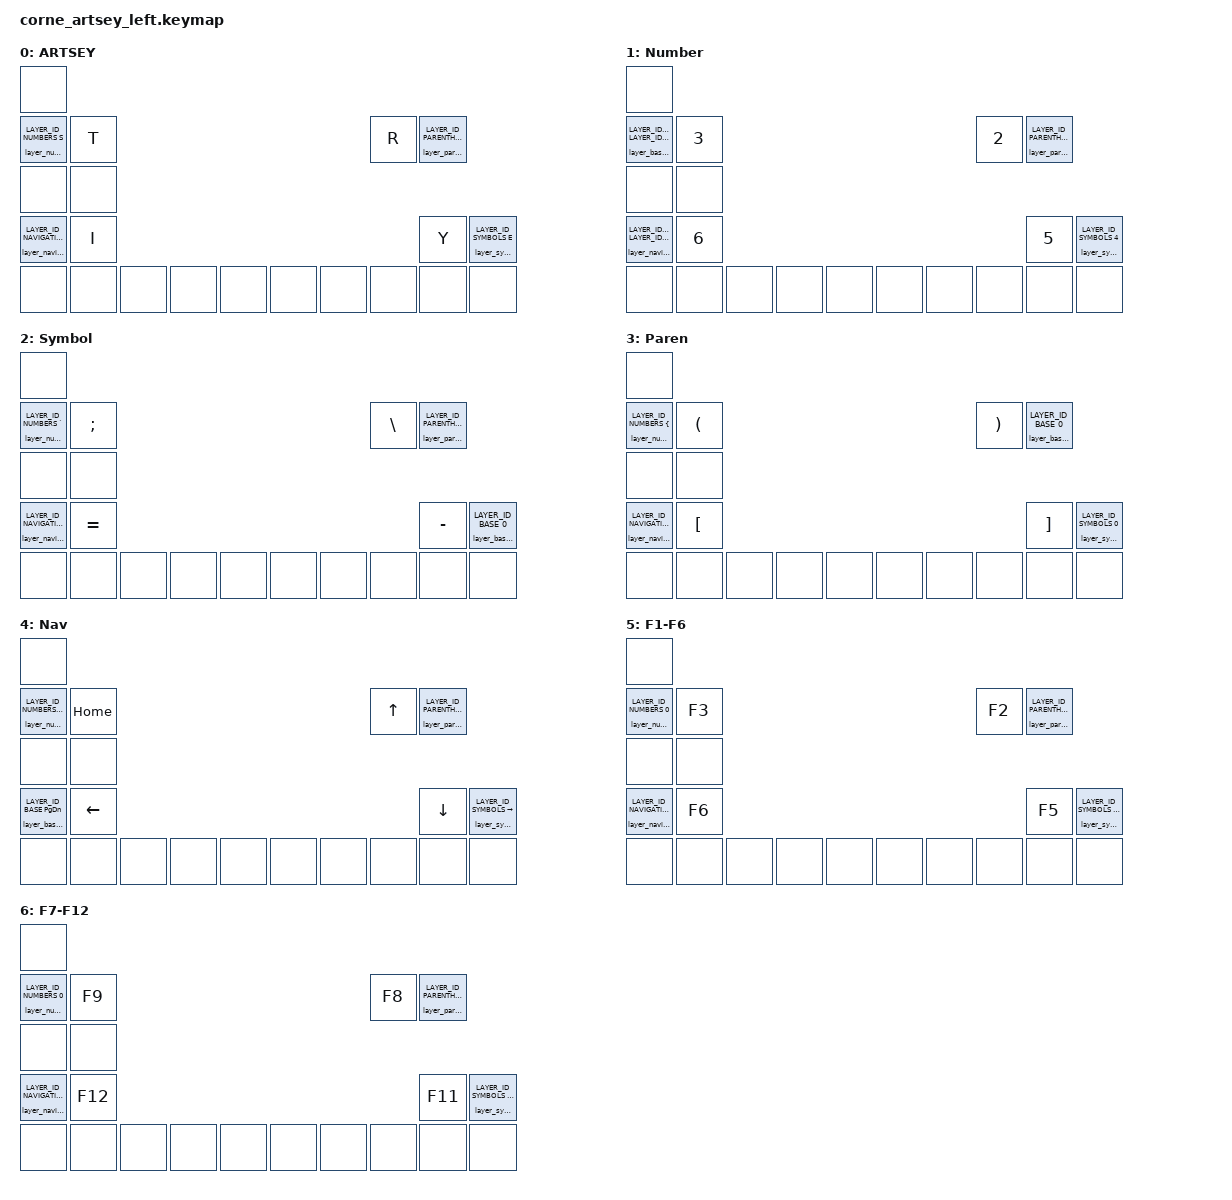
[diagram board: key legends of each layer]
/*
 * Copyright (c) 2020 The ZMK Contributors
 *
 * SPDX-License-Identifier: MIT
 */

#include <behaviors.dtsi>
#include <dt-bindings/zmk/keys.h>
#include <dt-bindings/zmk/bt.h>

// ARTS Row
#define KEY_A 4
#define KEY_R 3
#define KEY_T 2
#define KEY_S 1
// EYIO Row
#define KEY_E 10
#define KEY_Y 9
#define KEY_I 8
#define KEY_O 7

// Thumb buttons (used for BT combos)
#define THUMB_1 18
#define THUMB_2 19
#define THUMB_3 20

/ {
	combos {
		compatible = "zmk,combos";
		chord_bt_clr { key-positions = <THUMB_1 THUMB_3>; bindings = <&bt BT_CLR>; };
		chord_bt_prv { key-positions = <THUMB_1 THUMB_2>; bindings = <&bt BT_PRV>; };
		chord_bt_nxt { key-positions = <THUMB_2 THUMB_3>; bindings = <&bt BT_NXT>; };
        };
};

#include "../../../artsey_v0_7.dtsi"

/ {
	keymap {
		compatible = "zmk,keymap";
		base {
			label = "ARTSEY";
			bindings = <
				&none
				&layer_numbers_kp LAYER_ID_NUMBERS S &kp T &kp R &layer_parentheticals_kp LAYER_ID_PARENTHETICALS A
				&none &none
				&layer_navigation_kp LAYER_ID_NAVIGATION O &kp I &kp Y &layer_symbols_kp LAYER_ID_SYMBOLS E
				&none &none &none &none &none &none &none &none &none &none
			>;
		};
		numbers {
			label = "Number";
			bindings = <
				&none
				&layer_base_sl LAYER_ID_BASE LAYER_ID_F_ONE_SIX &kp N3 &kp N2 &layer_parentheticals_kp LAYER_ID_PARENTHETICALS N1
				&none &none
				&layer_navigation_sl LAYER_ID_NAVIGATION LAYER_ID_F_SEVEN_TWELVE &kp N6 &kp N5 &layer_symbols_kp LAYER_ID_SYMBOLS N4
				&none &none &none &none &none &none &none &none &none &none
			>;
		};
		symbols {
			label = "Symbol";
			bindings = <
				&none
				&layer_numbers_kp LAYER_ID_NUMBERS GRAVE &kp SEMI &kp BSLH &layer_parentheticals_none LAYER_ID_PARENTHETICALS 0
				&none &none
				&layer_navigation_none LAYER_ID_NAVIGATION 0 &kp EQUAL &kp MINUS &layer_base_none LAYER_ID_BASE 0
				&none &none &none &none &none &none &none &none &none &none
			>;
		};
		parentheticals {
			label = "Paren";
			bindings = <
				&none
				&layer_numbers_kp LAYER_ID_NUMBERS LBRC &kp LPAR &kp RPAR &layer_base_none LAYER_ID_BASE 0
				&none &none
				&layer_navigation_kp LAYER_ID_NAVIGATION RBRC &kp LBKT &kp RBKT &layer_symbols_none LAYER_ID_SYMBOLS 0
				&none &none &none &none &none &none &none &none &none &none
			>;
		};
		navigation {
			label = "Nav";
			bindings = <
				&none
				&layer_numbers_kp LAYER_ID_NUMBERS PG_UP &kp HOME &kp UP &layer_parentheticals_kp LAYER_ID_PARENTHETICALS END
				&none &none
				&layer_base_kp LAYER_ID_BASE PG_DN &kp LEFT  &kp DOWN &layer_symbols_kp LAYER_ID_SYMBOLS RIGHT
				&none &none &none &none &none &none &none &none &none &none
			>;
		};
		f_one_to_six{
			label = "F1-F6";
			bindings = <
				&none
				&layer_numbers_none LAYER_ID_NUMBERS 0 &kp F3 &kp F2 &layer_parentheticals_kp LAYER_ID_PARENTHETICALS F1
				&none &none
				&layer_navigation_none LAYER_ID_NAVIGATION 0 &kp F6 &kp F5 &layer_symbols_kp LAYER_ID_SYMBOLS F4
				&none &none &none &none &none &none &none &none &none &none
			>;
		};
		f_seven_to_twelve {
			label = "F7-F12";
			bindings = <
				&none
				&layer_numbers_none LAYER_ID_NUMBERS 0 &kp F9 &kp F8 &layer_parentheticals_kp LAYER_ID_PARENTHETICALS F7
				&none &none
				&layer_navigation_none LAYER_ID_NAVIGATION 0 &kp F12 &kp F11 &layer_symbols_kp LAYER_ID_SYMBOLS F10
				&none &none &none &none &none &none &none &none &none &none
			>;
		};
	};
};
